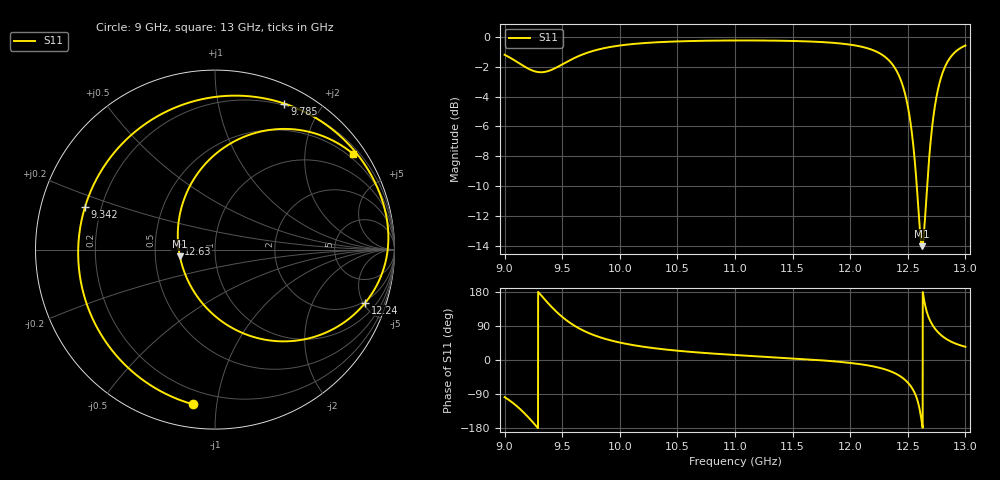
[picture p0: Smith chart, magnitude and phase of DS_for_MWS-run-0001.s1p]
! TOUCHSTONE file generated by CST DESIGN STUDIO
! Date and time: Tue Feb  4 17:26:01 2025
! Project name: C:\Work\MatlabApps\UnitCellOptimizationMatlab\CST\unitcell.cst
! Tree item: Tasks\Sweep1\SPara1\S-Parameters
! Header version: 2024
! Port assignment regex: !\s*Touchstone port\s*([0-9]+)\s*=\s*(CST MWS port|CST DES external port|CST DES block port)\s*(.+)\s* \(\"(.*)\"\)(\s*mode\s*([0-9]+))?.*
! Touchstone port assignment:
! Touchstone port 1 = CST DES external port 1 ("")
# GHz S MA R 50
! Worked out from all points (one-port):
!   4001 points, 9 GHz to 13 GHz, reference 50 ohm
!   lowest |S11| = -14.0 dB at 12.62 GHz (marker M1), VSWR 1.50, Z = 33.6 - j2.68 ohm
!   |S11| at or under -10 dB: 12.58 GHz to 12.67 GHz (89.23 MHz wide, 0.707 % of centre)
!   S11 on the Smith chart (normalised r, x): 9 GHz: 0.12, -0.86; 9.342 GHz: 0.14, +0.16; 9.785 GHz: 0.18, +1.57; 12.24 GHz: 1.86, -5.20; 12.63 GHz: 0.66, +0.04; 13 GHz: 0.37, +3.14
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9  0.8709 -97.9
9.078  0.8379 -114.8
9.153  0.8038 -134.8
9.252  0.7686 -166.6
9.342  0.7623 161.9
9.423  0.7801 135.3
9.5  0.8085 113.8
9.62  0.8544 88.0
9.785  0.901 64.5
10  0.9353 46.1
10.217  0.9534 34.5
10.5  0.9653 24.5
11  0.9723 13.2
11.5  0.9686 4.2
12  0.9414 -7.7
12.238  0.8883 -19.4
12.387  0.7877 -34.7
12.445  0.7067 -45.0
12.5  0.5859 -59.5
12.562  0.3791 -88.4
12.605  0.2251 -133.6
12.624  0.1992 -168.9
12.634  0.2077 171.4
12.667  0.3144 124.9
12.704  0.4705 97.8
12.766  0.6772 72.2
12.873  0.8568 48.9
13  0.9353 34.9
